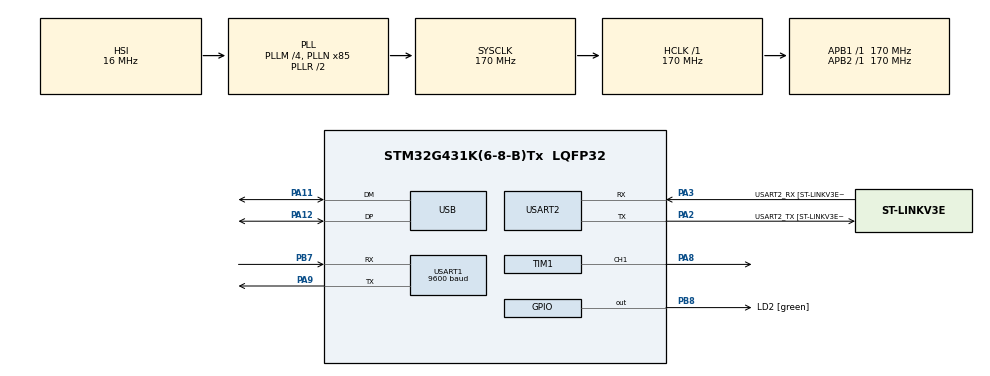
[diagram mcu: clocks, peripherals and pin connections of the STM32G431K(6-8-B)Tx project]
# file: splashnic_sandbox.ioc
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Dma.Request0=TIM1_CH1
Dma.Request1=USART1_RX
Dma.TIM1_CH1.0.Direction=DMA_MEMORY_TO_PERIPH
Dma.TIM1_CH1.0.EventEnable=DISABLE
Dma.TIM1_CH1.0.Instance=DMA1_Channel1
Dma.TIM1_CH1.0.MemDataAlignment=DMA_MDATAALIGN_HALFWORD
Dma.TIM1_CH1.0.MemInc=DMA_MINC_ENABLE
Dma.TIM1_CH1.0.Mode=DMA_NORMAL
Dma.TIM1_CH1.0.PeriphDataAlignment=DMA_PDATAALIGN_HALFWORD
Dma.TIM1_CH1.0.PeriphInc=DMA_PINC_DISABLE
Dma.TIM1_CH1.0.Polarity=HAL_DMAMUX_REQ_GEN_RISING
Dma.TIM1_CH1.0.Priority=DMA_PRIORITY_LOW
Dma.TIM1_CH1.0.RequestNumber=1
Dma.TIM1_CH1.0.SignalID=NONE
Dma.TIM1_CH1.0.SyncEnable=DISABLE
Dma.TIM1_CH1.0.SyncPolarity=HAL_DMAMUX_SYNC_NO_EVENT
Dma.TIM1_CH1.0.SyncRequestNumber=1
Dma.TIM1_CH1.0.SyncSignalID=NONE
Dma.USART1_RX.1.Direction=DMA_PERIPH_TO_MEMORY
Dma.USART1_RX.1.EventEnable=DISABLE
Dma.USART1_RX.1.Instance=DMA1_Channel2
Dma.USART1_RX.1.MemDataAlignment=DMA_MDATAALIGN_BYTE
Dma.USART1_RX.1.MemInc=DMA_MINC_ENABLE
Dma.USART1_RX.1.Mode=DMA_NORMAL
Dma.USART1_RX.1.PeriphDataAlignment=DMA_PDATAALIGN_BYTE
Dma.USART1_RX.1.PeriphInc=DMA_PINC_DISABLE
Dma.USART1_RX.1.Polarity=HAL_DMAMUX_REQ_GEN_RISING
Dma.USART1_RX.1.Priority=DMA_PRIORITY_LOW
Dma.USART1_RX.1.RequestNumber=1
Dma.USART1_RX.1.SignalID=NONE
Dma.USART1_RX.1.SyncEnable=DISABLE
Dma.USART1_RX.1.SyncPolarity=HAL_DMAMUX_SYNC_NO_EVENT
Dma.USART1_RX.1.SyncRequestNumber=1
Dma.USART1_RX.1.SyncSignalID=NONE
Mcu.Family=STM32G4
Mcu.Name=STM32G431K(6-8-B)Tx
Mcu.Package=LQFP32
NVIC.DMA1_Channel1_IRQn=true\:0\:0\:false\:false\:true\:false\:true\:true
NVIC.DMA1_Channel2_IRQn=true\:0\:0\:false\:false\:true\:false\:true\:true
NVIC.PriorityGroup=NVIC_PRIORITYGROUP_4
NVIC.USART1_IRQn=true\:0\:0\:false\:false\:true\:true\:true\:true
PA11.Mode=Device
PA11.Signal=USB_DM
PA12.Mode=Device
PA12.Signal=USB_DP
PA13.GPIO_Label=T_SWDIO
PA13.Mode=Serial_Wire
PA13.Signal=SYS_JTMS-SWDIO
PA14.GPIO_Label=T_SWCLK
PA14.Mode=Serial_Wire
PA14.Signal=SYS_JTCK-SWCLK
PA2.GPIO_Label=USART2_TX [ST-LINKV3E_VCP_RX]
PA2.Mode=Asynchronous
PA2.Signal=USART2_TX
PA3.GPIO_Label=USART2_RX [ST-LINKV3E_VCP_TX]
PA3.Mode=Asynchronous
PA3.Signal=USART2_RX
PA8.Signal=S_TIM1_CH1
PA9.Mode=Asynchronous
PA9.Signal=USART1_TX
PB7.Mode=Asynchronous
PB7.Signal=USART1_RX
PB8-BOOT0.GPIO_Label=LD2 [green]
PB8-BOOT0.Signal=GPIO_Output
ProjectManager.HeapSize=0x200
ProjectManager.StackSize=0x400
ProjectManager.TargetToolchain=STM32CubeIDE
RCC.ADC12Freq_Value=170000000
RCC.AHBFreq_Value=170000000
RCC.APB1Freq_Value=170000000
RCC.APB1TimFreq_Value=170000000
RCC.APB2Freq_Value=170000000
RCC.APB2TimFreq_Value=170000000
RCC.CK48CLockSelection=RCC_USBCLKSOURCE_HSI48
RCC.CortexFreq_Value=170000000
RCC.EXTERNAL_CLOCK_VALUE=12288000
RCC.HCLKFreq_Value=170000000
RCC.HSE_VALUE=8000000
RCC.HSI48_VALUE=48000000
RCC.HSI_VALUE=16000000
RCC.LSE_VALUE=32768
RCC.PLLM=RCC_PLLM_DIV4
RCC.PLLN=85
RCC.SYSCLKFreq_VALUE=170000000
RCC.SYSCLKSource=RCC_SYSCLKSOURCE_PLLCLK
RCC.USBFreq_Value=48000000
RCC.VCOOutputFreq_Value=340000000
SH.S_TIM1_CH1.0=TIM1_CH1,PWM Generation1 CH1
TIM1.Channel-PWM\ Generation1\ CH1=TIM_CHANNEL_1
TIM1.OCFastMode_PWM-PWM\ Generation1\ CH1=TIM_OCFAST_ENABLE
TIM1.OCIdleState_1=TIM_OCIDLESTATE_SET
TIM1.PeriodNoDither=213
TIM1.PulseNoDither_1=70
USART1.BaudRate=9600
USART1.Mode=MODE_TX_RX
USART1.OverrunDisableParam=ADVFEATURE_OVERRUN_DISABLE
USART1.VirtualMode-Asynchronous=VM_ASYNC
USART2.VirtualMode-Asynchronous=VM_ASYNC
USART2.WordLength=WORDLENGTH_8B
VP_SYS_VS_DBSignals.Mode=DisableDeadBatterySignals
VP_TIM1_VS_ClockSourceINT.Mode=Internal
board=NUCLEO-G431KB

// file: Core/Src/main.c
/* USER CODE BEGIN Header */
/**
 ******************************************************************************
 * @file           : main.c
 * @brief          : Main program body
 ******************************************************************************
 * @attention
 *
 * Copyright (c) 2023 STMicroelectronics.
 * All rights reserved.
 *
 * This software is licensed under terms that can be found in the LICENSE file
 * in the root directory of this software component.
 * If no LICENSE file comes with this software, it is provided AS-IS.
 *
 ******************************************************************************
 */
/* USER CODE END Header */
#include "main.h"

/* USER CODE BEGIN Includes */
#include <stdio.h>
#include <math.h>
#include "PA1616S.h"
/* USER CODE END Includes */

/* USER CODE BEGIN PD */
#define MAX_LED 8
#define USE_BRIGHTNESS 1
/* USER CODE END PD */

 TIM_HandleTypeDef htim1;
DMA_HandleTypeDef hdma_tim1_ch1;

UART_HandleTypeDef huart1;
UART_HandleTypeDef huart2;
DMA_HandleTypeDef hdma_usart1_rx;

PCD_HandleTypeDef hpcd_USB_FS;

/* USER CODE BEGIN PV */
uint16_t msg_size=1024;
uint8_t msg_buffer[1024];
uint32_t msg_TO=100;//time out in ms

//GPS
int NMEA_status=0;

// LED
uint8_t LED_Data[MAX_LED][4];
uint8_t LED_Mod[MAX_LED][4];  // for brightness

uint16_t pwmData[(24*MAX_LED)+50];
uint16_t datasentflag = 0;
/* USER CODE END PV */

void SystemClock_Config(void);
static void MX_GPIO_Init(void);
static void MX_USART2_UART_Init(void);
static void MX_DMA_Init(void);
static void MX_USB_PCD_Init(void);
static void MX_TIM1_Init(void);
static void MX_USART1_UART_Init(void);
/* USER CODE BEGIN PFP */
#ifdef __GNUC__
/* With GCC/RAISONANCE, small printf (option LD Linker->Libraries->Small printf
   set to 'Yes') calls __io_putchar() */
#define PUTCHAR_PROTOTYPE int __io_putchar(int ch)
#else
#define PUTCHAR_PROTOTYPE int fputc(int ch, FILE *f)
#endif /* __GNUC__ */
PUTCHAR_PROTOTYPE
{
	/* Place your implementation of fputc here */
	/* e.g. write a character to the USART2 and Loop until the end of transmission */
	HAL_UART_Transmit(&huart2, (uint8_t *)&ch, 1, 0xFFFF);

	return ch;
}

void Set_LED (int LEDnum, int Red, int Green, int Blue)
{
	LED_Data[LEDnum][0] = LEDnum;
	LED_Data[LEDnum][1] = Green;
	LED_Data[LEDnum][2] = Red;
	LED_Data[LEDnum][3] = Blue;
}

#define PI 3.14159265
void HAL_TIM_PWM_PulseFinishedCallback(TIM_HandleTypeDef *htim)
{
	HAL_TIM_PWM_Stop_DMA(&htim1, TIM_CHANNEL_1);
	datasentflag=1;
}
void Set_Brightness (int brightness)  // 0-45
{
#if USE_BRIGHTNESS

	if (brightness > 45) brightness = 45;
	for (int i=0; i<MAX_LED; i++)
	{
		LED_Mod[i][0] = LED_Data[i][0];
		for (int j=1; j<4; j++)
		{
			float angle = 90-brightness;  // in degrees
			angle = angle*PI / 180;  // in rad
			LED_Mod[i][j] = (LED_Data[i][j])/(tan(angle));
		}
	}

#endif

}
void WS2812_Send (void)
{
	uint32_t indx=0;
	uint32_t color;

	for (int i= 0; i<MAX_LED; i++)
	{
#if USE_BRIGHTNESS
		color = ((LED_Mod[i][1]<<16) | (LED_Mod[i][2]<<8) | (LED_Mod[i][3]));
#else
		color = ((LED_Data[i][1]<<16) | (LED_Data[i][2]<<8) | (LED_Data[i][3]));
#endif

		for (int i=23; i>=0; i--)
		{
			if (color&(1<<i))
			{
				pwmData[indx] = 141;  // 2/3 of 90
			}

			else pwmData[indx] = 70;  // 1/3 of 90

			indx++;
		}

	}

	for (int i=0; i<50; i++)
	{
		pwmData[indx] = 0;
		indx++;
	}

	HAL_TIM_PWM_Start_DMA(&htim1, TIM_CHANNEL_1, (uint32_t *)pwmData, indx);
	while (!datasentflag){};
	datasentflag = 0;
}

void HAL_UARTEx_RxEventCallback(UART_HandleTypeDef *huart, uint16_t Size){
	if(huart->Instance==USART1){
		NMEA_status=1;
		printf("Size=%d\r\n",Size);
		printf((char*)(msg_buffer));
	}

	HAL_UARTEx_ReceiveToIdle_DMA(&huart1, msg_buffer, msg_size);
	__HAL_DMA_DISABLE_IT(&hdma_usart1_rx, DMA_IT_HT);
}
/* USER CODE END PFP */

int main(void)
{

  /* MCU Configuration--------------------------------------------------------*/

  /* Reset of all peripherals, Initializes the Flash interface and the Systick. */
  HAL_Init();

  /* Configure the system clock */
  SystemClock_Config();

  /* Initialize all configured peripherals */
  MX_GPIO_Init();
  MX_USART2_UART_Init();
  MX_DMA_Init();
  MX_USB_PCD_Init();
  MX_TIM1_Init();
  MX_USART1_UART_Init();
  /* USER CODE BEGIN 2 */
	Set_LED(0, 255, 0, 0);
	Set_LED(1, 0, 255, 0);
	Set_LED(2, 0, 0, 255);

	Set_LED(3, 46, 89, 128);

	Set_LED(4, 156, 233, 100);
	Set_LED(5, 102, 0, 235);
	Set_LED(6, 47, 38, 77);

	Set_LED(7, 255, 200, 0);
	HAL_UARTEx_ReceiveToIdle_DMA(&huart1, msg_buffer, msg_size);
while(1){

	HAL_Delay(msg_TO);

}

  /* USER CODE END 2 */

  /* Infinite loop */
  /* USER CODE BEGIN WHILE */
	while (1)
	{
		msg_size=sprintf((char*) (msg_buffer),"%d \r\n",32);
		HAL_UART_Transmit(&huart2, msg_buffer, msg_size, msg_TO);
		printf("tit %d \r\n",32);
		for (int i=0; i<46; i++)
			  {
				  Set_Brightness(i);
				  WS2812_Send();
				  HAL_Delay (50);
			  }

			  for (int i=45; i>=0; i--)
			  {
				  Set_Brightness(i);
				  WS2812_Send();
				  HAL_Delay (50);
			  }
    /* USER CODE END WHILE */

	}
}

void SystemClock_Config(void)
{
  RCC_OscInitTypeDef RCC_OscInitStruct = {0};
  RCC_ClkInitTypeDef RCC_ClkInitStruct = {0};

  /** Configure the main internal regulator output voltage
  */
  HAL_PWREx_ControlVoltageScaling(PWR_REGULATOR_VOLTAGE_SCALE1_BOOST);

  /** Initializes the RCC Oscillators according to the specified parameters
  * in the RCC_OscInitTypeDef structure.
  */
  RCC_OscInitStruct.OscillatorType = RCC_OSCILLATORTYPE_HSI|RCC_OSCILLATORTYPE_HSI48;
  RCC_OscInitStruct.HSIState = RCC_HSI_ON;
  RCC_OscInitStruct.HSICalibrationValue = RCC_HSICALIBRATION_DEFAULT;
  RCC_OscInitStruct.HSI48State = RCC_HSI48_ON;
  RCC_OscInitStruct.PLL.PLLState = RCC_PLL_ON;
  RCC_OscInitStruct.PLL.PLLSource = RCC_PLLSOURCE_HSI;
  RCC_OscInitStruct.PLL.PLLM = RCC_PLLM_DIV4;
  RCC_OscInitStruct.PLL.PLLN = 85;
  RCC_OscInitStruct.PLL.PLLP = RCC_PLLP_DIV2;
  RCC_OscInitStruct.PLL.PLLQ = RCC_PLLQ_DIV2;
  RCC_OscInitStruct.PLL.PLLR = RCC_PLLR_DIV2;
  if (HAL_RCC_OscConfig(&RCC_OscInitStruct) != HAL_OK)
  {
    Error_Handler();
  }

  /** Initializes the CPU, AHB and APB buses clocks
  */
  RCC_ClkInitStruct.ClockType = RCC_CLOCKTYPE_HCLK|RCC_CLOCKTYPE_SYSCLK
                              |RCC_CLOCKTYPE_PCLK1|RCC_CLOCKTYPE_PCLK2;
  RCC_ClkInitStruct.SYSCLKSource = RCC_SYSCLKSOURCE_PLLCLK;
  RCC_ClkInitStruct.AHBCLKDivider = RCC_SYSCLK_DIV1;
  RCC_ClkInitStruct.APB1CLKDivider = RCC_HCLK_DIV1;
  RCC_ClkInitStruct.APB2CLKDivider = RCC_HCLK_DIV1;

  if (HAL_RCC_ClockConfig(&RCC_ClkInitStruct, FLASH_LATENCY_4) != HAL_OK)
  {
    Error_Handler();
  }
}

static void MX_TIM1_Init(void)
{

  TIM_ClockConfigTypeDef sClockSourceConfig = {0};
  TIM_MasterConfigTypeDef sMasterConfig = {0};
  TIM_OC_InitTypeDef sConfigOC = {0};
  TIM_BreakDeadTimeConfigTypeDef sBreakDeadTimeConfig = {0};

  htim1.Instance = TIM1;
  htim1.Init.Prescaler = 0;
  htim1.Init.CounterMode = TIM_COUNTERMODE_UP;
  htim1.Init.Period = 213;
  htim1.Init.ClockDivision = TIM_CLOCKDIVISION_DIV1;
  htim1.Init.RepetitionCounter = 0;
  htim1.Init.AutoReloadPreload = TIM_AUTORELOAD_PRELOAD_DISABLE;
  if (HAL_TIM_Base_Init(&htim1) != HAL_OK)
  {
    Error_Handler();
  }
  sClockSourceConfig.ClockSource = TIM_CLOCKSOURCE_INTERNAL;
  if (HAL_TIM_ConfigClockSource(&htim1, &sClockSourceConfig) != HAL_OK)
  {
    Error_Handler();
  }
  if (HAL_TIM_PWM_Init(&htim1) != HAL_OK)
  {
    Error_Handler();
  }
  sMasterConfig.MasterOutputTrigger = TIM_TRGO_RESET;
  sMasterConfig.MasterOutputTrigger2 = TIM_TRGO2_RESET;
  sMasterConfig.MasterSlaveMode = TIM_MASTERSLAVEMODE_DISABLE;
  if (HAL_TIMEx_MasterConfigSynchronization(&htim1, &sMasterConfig) != HAL_OK)
  {
    Error_Handler();
  }
  sConfigOC.OCMode = TIM_OCMODE_PWM1;
  sConfigOC.Pulse = 70;
  sConfigOC.OCPolarity = TIM_OCPOLARITY_HIGH;
  sConfigOC.OCNPolarity = TIM_OCNPOLARITY_HIGH;
  sConfigOC.OCFastMode = TIM_OCFAST_ENABLE;
  sConfigOC.OCIdleState = TIM_OCIDLESTATE_SET;
  sConfigOC.OCNIdleState = TIM_OCNIDLESTATE_RESET;
  if (HAL_TIM_PWM_ConfigChannel(&htim1, &sConfigOC, TIM_CHANNEL_1) != HAL_OK)
  {
    Error_Handler();
  }
  sBreakDeadTimeConfig.OffStateRunMode = TIM_OSSR_DISABLE;
  sBreakDeadTimeConfig.OffStateIDLEMode = TIM_OSSI_DISABLE;
  sBreakDeadTimeConfig.LockLevel = TIM_LOCKLEVEL_OFF;
  sBreakDeadTimeConfig.DeadTime = 0;
  sBreakDeadTimeConfig.BreakState = TIM_BREAK_DISABLE;
  sBreakDeadTimeConfig.BreakPolarity = TIM_BREAKPOLARITY_HIGH;
  sBreakDeadTimeConfig.BreakFilter = 0;
  sBreakDeadTimeConfig.BreakAFMode = TIM_BREAK_AFMODE_INPUT;
  sBreakDeadTimeConfig.Break2State = TIM_BREAK2_DISABLE;
  sBreakDeadTimeConfig.Break2Polarity = TIM_BREAK2POLARITY_HIGH;
  sBreakDeadTimeConfig.Break2Filter = 0;
  sBreakDeadTimeConfig.Break2AFMode = TIM_BREAK_AFMODE_INPUT;
  sBreakDeadTimeConfig.AutomaticOutput = TIM_AUTOMATICOUTPUT_DISABLE;
  if (HAL_TIMEx_ConfigBreakDeadTime(&htim1, &sBreakDeadTimeConfig) != HAL_OK)
  {
    Error_Handler();
  }
  HAL_TIM_MspPostInit(&htim1);

}

static void MX_USART1_UART_Init(void)
{

  huart1.Instance = USART1;
  huart1.Init.BaudRate = 9600;
  huart1.Init.WordLength = UART_WORDLENGTH_8B;
  huart1.Init.StopBits = UART_STOPBITS_1;
  huart1.Init.Parity = UART_PARITY_NONE;
  huart1.Init.Mode = UART_MODE_TX_RX;
  huart1.Init.HwFlowCtl = UART_HWCONTROL_NONE;
  huart1.Init.OverSampling = UART_OVERSAMPLING_16;
  huart1.Init.OneBitSampling = UART_ONE_BIT_SAMPLE_DISABLE;
  huart1.Init.ClockPrescaler = UART_PRESCALER_DIV1;
  huart1.AdvancedInit.AdvFeatureInit = UART_ADVFEATURE_RXOVERRUNDISABLE_INIT;
  huart1.AdvancedInit.OverrunDisable = UART_ADVFEATURE_OVERRUN_DISABLE;
  if (HAL_UART_Init(&huart1) != HAL_OK)
  {
    Error_Handler();
  }
  if (HAL_UARTEx_SetTxFifoThreshold(&huart1, UART_TXFIFO_THRESHOLD_1_8) != HAL_OK)
  {
    Error_Handler();
  }
  if (HAL_UARTEx_SetRxFifoThreshold(&huart1, UART_RXFIFO_THRESHOLD_1_8) != HAL_OK)
  {
    Error_Handler();
  }
  if (HAL_UARTEx_DisableFifoMode(&huart1) != HAL_OK)
  {
    Error_Handler();
  }

}

static void MX_USART2_UART_Init(void)
{

  huart2.Instance = USART2;
  huart2.Init.BaudRate = 115200;
  huart2.Init.WordLength = UART_WORDLENGTH_8B;
  huart2.Init.StopBits = UART_STOPBITS_1;
  huart2.Init.Parity = UART_PARITY_NONE;
  huart2.Init.Mode = UART_MODE_TX_RX;
  huart2.Init.HwFlowCtl = UART_HWCONTROL_NONE;
  huart2.Init.OverSampling = UART_OVERSAMPLING_16;
  huart2.Init.OneBitSampling = UART_ONE_BIT_SAMPLE_DISABLE;
  huart2.Init.ClockPrescaler = UART_PRESCALER_DIV1;
  huart2.AdvancedInit.AdvFeatureInit = UART_ADVFEATURE_NO_INIT;
  if (HAL_UART_Init(&huart2) != HAL_OK)
  {
    Error_Handler();
  }
  if (HAL_UARTEx_SetTxFifoThreshold(&huart2, UART_TXFIFO_THRESHOLD_1_8) != HAL_OK)
  {
    Error_Handler();
  }
  if (HAL_UARTEx_SetRxFifoThreshold(&huart2, UART_RXFIFO_THRESHOLD_1_8) != HAL_OK)
  {
    Error_Handler();
  }
  if (HAL_UARTEx_DisableFifoMode(&huart2) != HAL_OK)
  {
    Error_Handler();
  }

}

static void MX_USB_PCD_Init(void)
{

  hpcd_USB_FS.Instance = USB;
  hpcd_USB_FS.Init.dev_endpoints = 8;
  hpcd_USB_FS.Init.speed = PCD_SPEED_FULL;
  hpcd_USB_FS.Init.phy_itface = PCD_PHY_EMBEDDED;
  hpcd_USB_FS.Init.Sof_enable = DISABLE;
  hpcd_USB_FS.Init.low_power_enable = DISABLE;
  hpcd_USB_FS.Init.lpm_enable = DISABLE;
  hpcd_USB_FS.Init.battery_charging_enable = DISABLE;
  if (HAL_PCD_Init(&hpcd_USB_FS) != HAL_OK)
  {
    Error_Handler();
  }

}

static void MX_DMA_Init(void)
{

  /* DMA controller clock enable */
  __HAL_RCC_DMAMUX1_CLK_ENABLE();
  __HAL_RCC_DMA1_CLK_ENABLE();

  /* DMA interrupt init */
  /* DMA1_Channel1_IRQn interrupt configuration */
  HAL_NVIC_SetPriority(DMA1_Channel1_IRQn, 0, 0);
  HAL_NVIC_EnableIRQ(DMA1_Channel1_IRQn);
  /* DMA1_Channel2_IRQn interrupt configuration */
  HAL_NVIC_SetPriority(DMA1_Channel2_IRQn, 0, 0);
  HAL_NVIC_EnableIRQ(DMA1_Channel2_IRQn);
  /* DMAMUX_OVR_IRQn interrupt configuration */
  HAL_NVIC_SetPriority(DMAMUX_OVR_IRQn, 0, 0);
  HAL_NVIC_EnableIRQ(DMAMUX_OVR_IRQn);

}

static void MX_GPIO_Init(void)
{
  GPIO_InitTypeDef GPIO_InitStruct = {0};

  /* GPIO Ports Clock Enable */
  __HAL_RCC_GPIOA_CLK_ENABLE();
  __HAL_RCC_GPIOB_CLK_ENABLE();

  /*Configure GPIO pin Output Level */
  HAL_GPIO_WritePin(LD2_GPIO_Port, LD2_Pin, GPIO_PIN_RESET);

  /*Configure GPIO pin : LD2_Pin */
  GPIO_InitStruct.Pin = LD2_Pin;
  GPIO_InitStruct.Mode = GPIO_MODE_OUTPUT_PP;
  GPIO_InitStruct.Pull = GPIO_NOPULL;
  GPIO_InitStruct.Speed = GPIO_SPEED_FREQ_LOW;
  HAL_GPIO_Init(LD2_GPIO_Port, &GPIO_InitStruct);

}

void Error_Handler(void)
{
	__disable_irq();
	while (1)
	{
	}
}
